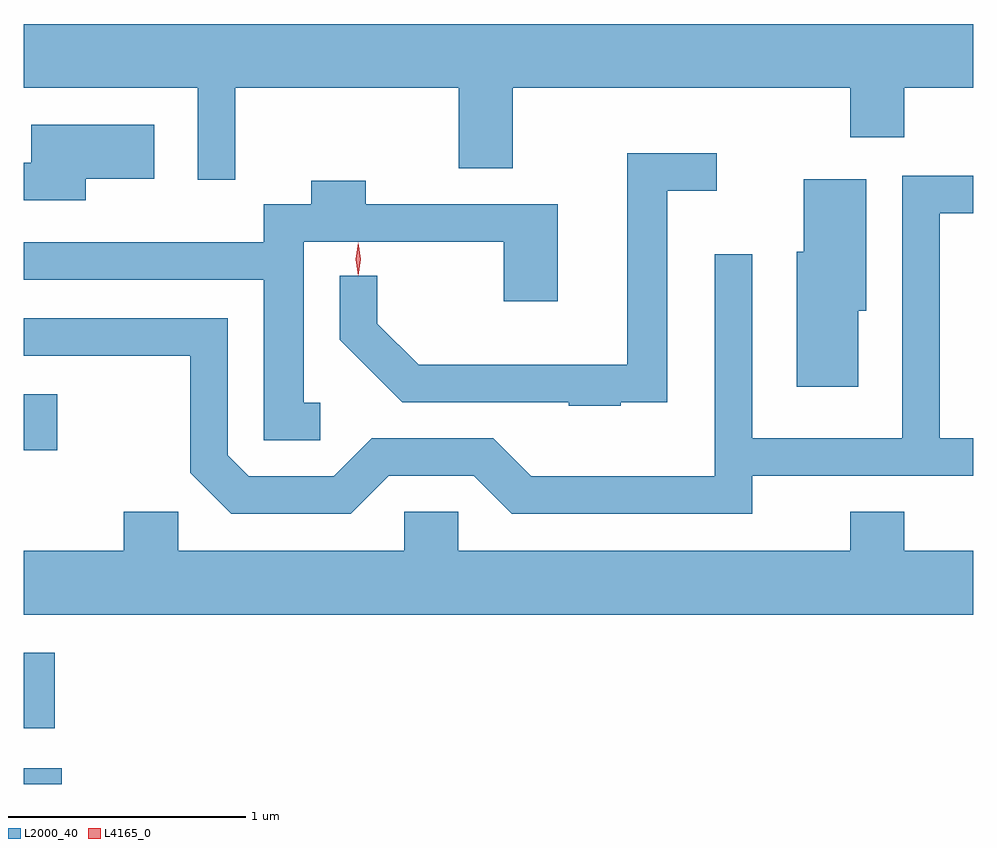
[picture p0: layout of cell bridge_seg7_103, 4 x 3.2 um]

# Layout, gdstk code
import gdstk
lib = gdstk.Library(unit=1e-6, precision=1e-09)
def R(c, l, rs):  # rectangles x0, y0, x1, y1
    for r in rs: c.add(gdstk.rectangle(r[:2], r[2:], *l))
def P(c, l, *ps):  # polygons
    for p in ps: c.add(gdstk.Polygon(p, *l))
L2000_40 = (2000, 40)
L4165_0 = (4165, 0)

bridge_seg7_103 = lib.new_cell('bridge_seg7_103')
R(bridge_seg7_103, L2000_40, [(1600.619,1753.562,1600.779,1753.629), (1600.619,1753.796,1600.749,1754.114), (1600.619,1754.968,1600.759,1755.204)])
P(bridge_seg7_103, L2000_40, [(1601.509,1756.496),(1602.451,1756.496),(1602.451,1756.156),(1602.679,1756.156),(1602.679,1756.496),(1604.101,1756.496),(1604.101,1756.286),(1604.329,1756.286),(1604.329,1756.496),(1604.619,1756.496),(1604.619,1756.764),(1600.619,1756.764),(1600.619,1756.496),(1601.351,1756.496),(1601.351,1756.108),(1601.509,1756.108)],
  [(1600.879,1756.111),(1601.169,1756.111),(1601.169,1756.339),(1600.651,1756.339),(1600.651,1756.179),(1600.619,1756.179),(1600.619,1756.021),(1600.879,1756.021)],
  [(1603.135,1755.171),(1603.329,1755.171),(1603.329,1756.061),(1603.538,1756.061),(1603.538,1756.219),(1603.161,1756.219),(1603.161,1755.329),(1602.282,1755.329),(1602.109,1755.502),(1602.109,1755.703),(1601.951,1755.703),(1601.951,1755.434),(1602.214,1755.171),(1602.915,1755.171),(1602.915,1755.156),(1603.135,1755.156)],
  [(1602.157,1754.861),(1602.514,1754.861),(1602.674,1754.701),(1603.689,1754.701),(1603.689,1754.861),(1604.619,1754.861),(1604.619,1755.019),(1604.479,1755.019),(1604.479,1755.966),(1604.619,1755.966),(1604.619,1756.124),(1604.321,1756.124),(1604.321,1755.019),(1603.689,1755.019),(1603.689,1755.793),(1603.531,1755.793),(1603.531,1754.859),(1602.757,1754.859),(1602.597,1755.019),(1602.084,1755.019),(1601.924,1754.859),(1601.567,1754.859),(1601.479,1754.947),(1601.479,1755.524),(1600.619,1755.524),(1600.619,1755.366),(1601.321,1755.366),(1601.321,1754.874),(1601.494,1754.701),(1601.997,1754.701)],
  [(1604.134,1755.556),(1604.169,1755.556),(1604.169,1756.109),(1603.906,1756.109),(1603.906,1755.804),(1603.876,1755.804),(1603.876,1755.236),(1604.134,1755.236)],
  [(1601.868,1755.169),(1601.799,1755.169),(1601.799,1755.846),(1602.641,1755.846),(1602.641,1755.596),(1602.869,1755.596),(1602.869,1756.004),(1602.059,1756.004),(1602.059,1756.104),(1601.831,1756.104),(1601.831,1756.004),(1601.631,1756.004),(1601.631,1755.844),(1600.619,1755.844),(1600.619,1755.686),(1601.631,1755.686),(1601.631,1755.011),(1601.868,1755.011)],
  [(1604.619,1754.544),(1604.329,1754.544),(1604.329,1754.709),(1604.101,1754.709),(1604.101,1754.544),(1602.449,1754.544),(1602.449,1754.709),(1602.221,1754.709),(1602.221,1754.544),(1601.269,1754.544),(1601.269,1754.709),(1601.041,1754.709),(1601.041,1754.544),(1600.619,1754.544),(1600.619,1754.276),(1604.619,1754.276)])
P(bridge_seg7_103, L4165_0, [(1602.028,1755.703),(1602.028,1755.704),(1602.018,1755.773),(1602.028,1755.842),(1602.028,1755.843),(1602.028,1755.842),(1602.038,1755.773),(1602.028,1755.704)])

lib.write_gds('bridge_seg7_103.gds')
